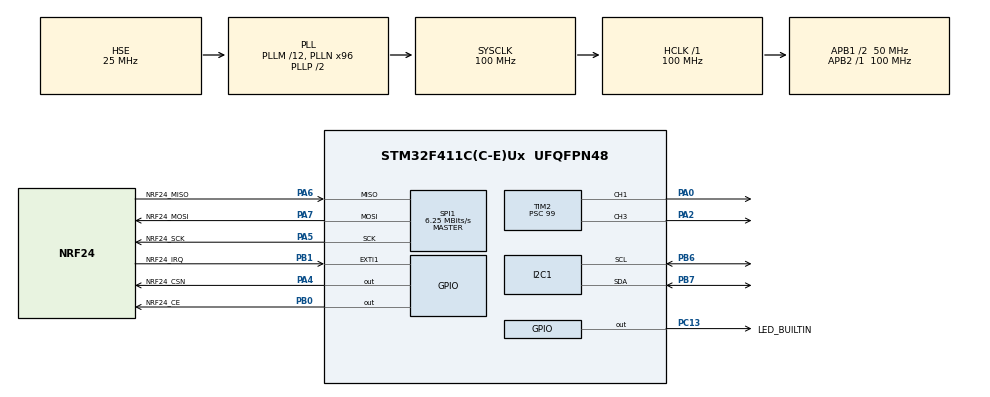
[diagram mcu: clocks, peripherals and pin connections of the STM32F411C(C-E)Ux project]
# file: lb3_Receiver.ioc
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Dma.I2C1_TX.0.Direction=DMA_MEMORY_TO_PERIPH
Dma.I2C1_TX.0.FIFOMode=DMA_FIFOMODE_DISABLE
Dma.I2C1_TX.0.Instance=DMA1_Stream1
Dma.I2C1_TX.0.MemDataAlignment=DMA_MDATAALIGN_BYTE
Dma.I2C1_TX.0.MemInc=DMA_MINC_ENABLE
Dma.I2C1_TX.0.Mode=DMA_NORMAL
Dma.I2C1_TX.0.PeriphDataAlignment=DMA_PDATAALIGN_BYTE
Dma.I2C1_TX.0.PeriphInc=DMA_PINC_DISABLE
Dma.I2C1_TX.0.Priority=DMA_PRIORITY_LOW
Dma.Request0=I2C1_TX
Dma.Request1=SPI1_TX
Dma.Request2=SPI1_RX
Dma.SPI1_RX.2.Direction=DMA_PERIPH_TO_MEMORY
Dma.SPI1_RX.2.FIFOMode=DMA_FIFOMODE_DISABLE
Dma.SPI1_RX.2.Instance=DMA2_Stream0
Dma.SPI1_RX.2.MemDataAlignment=DMA_MDATAALIGN_BYTE
Dma.SPI1_RX.2.MemInc=DMA_MINC_ENABLE
Dma.SPI1_RX.2.Mode=DMA_NORMAL
Dma.SPI1_RX.2.PeriphDataAlignment=DMA_PDATAALIGN_BYTE
Dma.SPI1_RX.2.PeriphInc=DMA_PINC_DISABLE
Dma.SPI1_RX.2.Priority=DMA_PRIORITY_LOW
Dma.SPI1_TX.1.Direction=DMA_MEMORY_TO_PERIPH
Dma.SPI1_TX.1.FIFOMode=DMA_FIFOMODE_DISABLE
Dma.SPI1_TX.1.Instance=DMA2_Stream2
Dma.SPI1_TX.1.MemDataAlignment=DMA_MDATAALIGN_BYTE
Dma.SPI1_TX.1.MemInc=DMA_MINC_ENABLE
Dma.SPI1_TX.1.Mode=DMA_NORMAL
Dma.SPI1_TX.1.PeriphDataAlignment=DMA_PDATAALIGN_BYTE
Dma.SPI1_TX.1.PeriphInc=DMA_PINC_DISABLE
Dma.SPI1_TX.1.Priority=DMA_PRIORITY_LOW
FREERTOS.BinarySemaphores01=radioIrqSem,Dynamic,NULL,Available;i2cTxDoneSem,Dynamic,NULL,Available
FREERTOS.Queues01=displayQueueHandle,4,40,1,Dynamic,NULL,NULL;radioToLogicQueue,4,32,1,Dynamic,NULL,NULL
FREERTOS.Tasks01=radio_task,24,256,radio_task_entry,Default,NULL,Dynamic,NULL,NULL;display_task,8,256,display_task_entry,Default,NULL,Dynamic,NULL,NULL;logic_task,24,256,logic_task_entry,Default,NULL,Dynamic,NULL,NULL
FREERTOS.configUSE_NEWLIB_REENTRANT=1
Mcu.Family=STM32F4
Mcu.Name=STM32F411C(C-E)Ux
Mcu.Package=UFQFPN48
NVIC.DMA1_Stream1_IRQn=true\:5\:0\:false\:false\:true\:true\:false\:true\:true
NVIC.DMA2_Stream0_IRQn=true\:5\:0\:false\:false\:true\:true\:false\:true\:true
NVIC.DMA2_Stream2_IRQn=true\:5\:0\:false\:false\:true\:true\:false\:true\:true
NVIC.EXTI1_IRQn=true\:5\:0\:true\:false\:true\:true\:true\:true\:true
NVIC.I2C1_ER_IRQn=true\:5\:0\:false\:false\:true\:true\:true\:true\:true
NVIC.I2C1_EV_IRQn=true\:5\:0\:false\:false\:true\:true\:true\:true\:true
NVIC.PriorityGroup=NVIC_PRIORITYGROUP_4
NVIC.SPI1_IRQn=true\:5\:0\:false\:false\:true\:true\:true\:true\:true
NVIC.TIM1_UP_TIM10_IRQn=true\:15\:0\:false\:false\:true\:false\:false\:true\:true
NVIC.TimeBase=TIM1_UP_TIM10_IRQn
NVIC.TimeBaseIP=TIM1
PA0-WKUP.Signal=S_TIM2_CH1_ETR
PA13.Mode=Serial_Wire
PA13.Signal=SYS_JTMS-SWDIO
PA14.Mode=Serial_Wire
PA14.Signal=SYS_JTCK-SWCLK
PA2.Signal=S_TIM2_CH3
PA4.GPIO_Label=NRF24_CSN
PA4.GPIO_Speed=GPIO_SPEED_FREQ_HIGH
PA4.PinState=GPIO_PIN_SET
PA4.Signal=GPIO_Output
PA5.GPIO_Label=NRF24_SCK
PA5.GPIO_Speed=GPIO_SPEED_FREQ_HIGH
PA5.Mode=Full_Duplex_Master
PA5.Signal=SPI1_SCK
PA6.GPIO_Label=NRF24_MISO
PA6.GPIO_PuPd=GPIO_NOPULL
PA6.GPIO_Speed=GPIO_SPEED_FREQ_HIGH
PA6.Mode=Full_Duplex_Master
PA6.Signal=SPI1_MISO
PA7.GPIO_Label=NRF24_MOSI
PA7.GPIO_Speed=GPIO_SPEED_FREQ_HIGH
PA7.Mode=Full_Duplex_Master
PA7.Signal=SPI1_MOSI
PB0.GPIO_Label=NRF24_CE
PB0.Signal=GPIO_Output
PB1.GPIO_Label=NRF24_IRQ
PB1.GPIO_ModeDefaultEXTI=GPIO_MODE_IT_FALLING
PB1.GPIO_PuPd=GPIO_PULLUP
PB1.Signal=GPXTI1
PB6.GPIO_Speed=GPIO_SPEED_FREQ_HIGH
PB6.Mode=I2C
PB6.Signal=I2C1_SCL
PB7.GPIO_Speed=GPIO_SPEED_FREQ_HIGH
PB7.Mode=I2C
PB7.Signal=I2C1_SDA
PC13-ANTI_TAMP.GPIO_Label=LED_BUILTIN
PC13-ANTI_TAMP.PinState=GPIO_PIN_SET
PC13-ANTI_TAMP.Signal=GPIO_Output
PH0\ -\ OSC_IN.Mode=HSE-External-Oscillator
PH0\ -\ OSC_IN.Signal=RCC_OSC_IN
PH1\ -\ OSC_OUT.Mode=HSE-External-Oscillator
PH1\ -\ OSC_OUT.Signal=RCC_OSC_OUT
ProjectManager.HeapSize=0x200
ProjectManager.StackSize=0x400
ProjectManager.TargetToolchain=CMake
RCC.48MHZClocksFreq_Value=50000000
RCC.AHBFreq_Value=100000000
RCC.APB1CLKDivider=RCC_HCLK_DIV2
RCC.APB1Freq_Value=50000000
RCC.APB1TimFreq_Value=100000000
RCC.APB2Freq_Value=100000000
RCC.APB2TimFreq_Value=100000000
RCC.CortexFreq_Value=100000000
RCC.HCLKFreq_Value=100000000
RCC.HSE_VALUE=25000000
RCC.HSI_VALUE=16000000
RCC.LSE_VALUE=32768
RCC.PLLM=12
RCC.PLLN=96
RCC.PLLSourceVirtual=RCC_PLLSOURCE_HSE
RCC.SYSCLKFreq_VALUE=100000000
RCC.SYSCLKSource=RCC_SYSCLKSOURCE_PLLCLK
RCC.VCOOutputFreq_Value=200000000
SH.S_TIM2_CH1_ETR.0=TIM2_CH1,PWM Generation1 CH1
SH.S_TIM2_CH3.0=TIM2_CH3,PWM Generation3 CH3
SPI1.BaudRatePrescaler=SPI_BAUDRATEPRESCALER_16
SPI1.CalculateBaudRate=6.25 MBits/s
SPI1.Direction=SPI_DIRECTION_2LINES
SPI1.Mode=SPI_MODE_MASTER
SPI1.VirtualType=VM_MASTER
TIM2.Channel-PWM\ Generation1\ CH1=TIM_CHANNEL_1
TIM2.Channel-PWM\ Generation3\ CH3=TIM_CHANNEL_3
TIM2.Period=19999
TIM2.Prescaler=99
TIM2.Pulse-PWM\ Generation1\ CH1=1500
TIM2.Pulse-PWM\ Generation3\ CH3=1500
VP_FREERTOS_VS_CMSIS_V2.Mode=CMSIS_V2
VP_SYS_VS_tim1.Mode=TIM1
VP_TIM2_VS_ClockSourceINT.Mode=Internal
board=custom

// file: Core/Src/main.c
/* USER CODE BEGIN Header */
/**
  ******************************************************************************
  * @file           : main.c
  * @brief          : Main program body
  ******************************************************************************
  * @attention
  *
  * Copyright (c) 2025 STMicroelectronics.
  * All rights reserved.
  *
  * This software is licensed under terms that can be found in the LICENSE file
  * in the root directory of this software component.
  * If no LICENSE file comes with this software, it is provided AS-IS.
  *
  ******************************************************************************
  */
/* USER CODE END Header */
#include "main.h"
#include "cmsis_os.h"
#include "dma.h"
#include "i2c.h"
#include "spi.h"
#include "tim.h"
#include "gpio.h"

/* USER CODE BEGIN Includes */
#include "rtos_tasks.h"
/* USER CODE END Includes */

void SystemClock_Config(void);
void MX_FREERTOS_Init(void);

int main(void)
{

  /* MCU Configuration--------------------------------------------------------*/

  /* Reset of all peripherals, Initializes the Flash interface and the Systick. */
  HAL_Init();

  /* USER CODE BEGIN Init */
  HAL_NVIC_SetPriorityGrouping(NVIC_PRIORITYGROUP_4);
  /* USER CODE END Init */

  /* Configure the system clock */
  SystemClock_Config();

  /* Initialize all configured peripherals */
  MX_GPIO_Init();
  MX_DMA_Init();
  MX_I2C1_Init();
  MX_SPI1_Init();
  MX_TIM2_Init();

  /* Init scheduler */
  osKernelInitialize();  /* Call init function for freertos objects (in cmsis_os2.c) */
  MX_FREERTOS_Init();

  /* Start scheduler */
  osKernelStart();

  /* We should never get here as control is now taken by the scheduler */

  /* Infinite loop */
  while (1)
  {

  }
}

void SystemClock_Config(void)
{
  RCC_OscInitTypeDef RCC_OscInitStruct = {0};
  RCC_ClkInitTypeDef RCC_ClkInitStruct = {0};

  /** Configure the main internal regulator output voltage
  */
  __HAL_RCC_PWR_CLK_ENABLE();
  __HAL_PWR_VOLTAGESCALING_CONFIG(PWR_REGULATOR_VOLTAGE_SCALE1);

  /** Initializes the RCC Oscillators according to the specified parameters
  * in the RCC_OscInitTypeDef structure.
  */
  RCC_OscInitStruct.OscillatorType = RCC_OSCILLATORTYPE_HSE;
  RCC_OscInitStruct.HSEState = RCC_HSE_ON;
  RCC_OscInitStruct.PLL.PLLState = RCC_PLL_ON;
  RCC_OscInitStruct.PLL.PLLSource = RCC_PLLSOURCE_HSE;
  RCC_OscInitStruct.PLL.PLLM = 12;
  RCC_OscInitStruct.PLL.PLLN = 96;
  RCC_OscInitStruct.PLL.PLLP = RCC_PLLP_DIV2;
  RCC_OscInitStruct.PLL.PLLQ = 4;
  if (HAL_RCC_OscConfig(&RCC_OscInitStruct) != HAL_OK)
  {
    Error_Handler();
  }

  /** Initializes the CPU, AHB and APB buses clocks
  */
  RCC_ClkInitStruct.ClockType = RCC_CLOCKTYPE_HCLK|RCC_CLOCKTYPE_SYSCLK
                              |RCC_CLOCKTYPE_PCLK1|RCC_CLOCKTYPE_PCLK2;
  RCC_ClkInitStruct.SYSCLKSource = RCC_SYSCLKSOURCE_PLLCLK;
  RCC_ClkInitStruct.AHBCLKDivider = RCC_SYSCLK_DIV1;
  RCC_ClkInitStruct.APB1CLKDivider = RCC_HCLK_DIV2;
  RCC_ClkInitStruct.APB2CLKDivider = RCC_HCLK_DIV1;

  if (HAL_RCC_ClockConfig(&RCC_ClkInitStruct, FLASH_LATENCY_3) != HAL_OK)
  {
    Error_Handler();
  }
}

/* USER CODE BEGIN 4 */
/**
  * @brief  I2C DMA Transfer Complete (Success) Callback.
  */
void HAL_I2C_MemTxCpltCallback(I2C_HandleTypeDef *hi2c)
{
  if (hi2c->Instance == hi2c1.Instance)
  {
    // Give the semaphore to unblock the display_task
	  osSemaphoreRelease(i2cTxDoneSemHandle);
  }
}

/**
  * @brief  I2C Error Callback.
  */
void HAL_I2C_ErrorCallback(I2C_HandleTypeDef *hi2c)
{
  if (hi2c->Instance == hi2c1.Instance)
  {
    // 1. Manually reset the HAL state to HAL_I2C_STATE_READY.
    // This is our "elegant fix" to clear the HAL_BUSY state.
    // Protected with critical section to prevent race conditions.
    taskENTER_CRITICAL();
    hi2c->State = HAL_I2C_STATE_READY;
    taskEXIT_CRITICAL();

    // 2. Also give the semaphore to unblock the display_task,
    //    so it doesn't get stuck on xSemaphoreTake().
    osSemaphoreRelease(i2cTxDoneSemHandle);
  }
}
/* USER CODE END 4 */

void HAL_TIM_PeriodElapsedCallback(TIM_HandleTypeDef *htim)
{
  if (htim->Instance == TIM1)
  {
    HAL_IncTick();
  }
}

void Error_Handler(void)
{
  __disable_irq();
  while (1)
  {
  }
}

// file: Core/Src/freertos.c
/* USER CODE BEGIN Header */
/**
  ******************************************************************************
  * File Name          : freertos.c
  * Description        : Code for freertos applications
  ******************************************************************************
  * @attention
  *
  * Copyright (c) 2025 STMicroelectronics.
  * All rights reserved.
  *
  * This software is licensed under terms that can be found in the LICENSE file
  * in the root directory of this software component.
  * If no LICENSE file comes with this software, it is provided AS-IS.
  *
  ******************************************************************************
  */
/* USER CODE END Header */

#include "FreeRTOS.h"
#include "task.h"
#include "main.h"
#include "cmsis_os.h"

/* USER CODE BEGIN Includes */
#include "rtos_tasks.h"
/* USER CODE END Includes */

/* Definitions for radio_task */
osThreadId_t radio_taskHandle;
const osThreadAttr_t radio_task_attributes = {
  .name = "radio_task",
  .stack_size = 512 * 4,
  .priority = (osPriority_t) osPriorityNormal,
};
/* Definitions for display_task */
osThreadId_t display_taskHandle;
const osThreadAttr_t display_task_attributes = {
  .name = "display_task",
  .stack_size = 512 * 4,
  .priority = (osPriority_t) osPriorityLow,
};
/* Definitions for logic_task */
osThreadId_t logic_taskHandle;
const osThreadAttr_t logic_task_attributes = {
  .name = "logic_task",
  .stack_size = 512 * 4,
  .priority = (osPriority_t) osPriorityNormal,
};
/* Definitions for displayQueueHandle */
osMessageQueueId_t displayQueueHandleHandle;
const osMessageQueueAttr_t displayQueueHandle_attributes = {
  .name = "displayQueueHandle"
};
/* Definitions for radioToLogicQueue */
osMessageQueueId_t radioToLogicQueueHandle;
const osMessageQueueAttr_t radioToLogicQueue_attributes = {
  .name = "radioToLogicQueue"
};
/* Definitions for radioIrqSem */
osSemaphoreId_t radioIrqSemHandle;
const osSemaphoreAttr_t radioIrqSem_attributes = {
  .name = "radioIrqSem"
};
/* Definitions for i2cTxDoneSem */
osSemaphoreId_t i2cTxDoneSemHandle;
const osSemaphoreAttr_t i2cTxDoneSem_attributes = {
  .name = "i2cTxDoneSem"
};

void radio_task_entry(void *argument);
void display_task_entry(void *argument);
void logic_task_entry(void *argument);

void MX_FREERTOS_Init(void); /* (MISRA C 2004 rule 8.1) */

void MX_FREERTOS_Init(void) {

  /* Create the semaphores(s) */
  /* creation of radioIrqSem */
  radioIrqSemHandle = osSemaphoreNew(1, 0, &radioIrqSem_attributes);

  /* creation of i2cTxDoneSem */
  i2cTxDoneSemHandle = osSemaphoreNew(1, 0, &i2cTxDoneSem_attributes);

  /* Create the queue(s) */
  /* creation of displayQueueHandle */
  displayQueueHandleHandle = osMessageQueueNew (4, 40, &displayQueueHandle_attributes);

  /* creation of radioToLogicQueue */
  radioToLogicQueueHandle = osMessageQueueNew (4, 32, &radioToLogicQueue_attributes);

  /* Create the thread(s) */
  /* creation of radio_task */
  radio_taskHandle = osThreadNew(radio_task_entry, NULL, &radio_task_attributes);

  /* creation of display_task */
  display_taskHandle = osThreadNew(display_task_entry, NULL, &display_task_attributes);

  /* creation of logic_task */
  logic_taskHandle = osThreadNew(logic_task_entry, NULL, &logic_task_attributes);

}

void radio_task_entry(void *argument)
{
  /* USER CODE BEGIN radio_task_entry */
  /* Infinite loop */
  radio_run_task();
  /* USER CODE END radio_task_entry */
}

void display_task_entry(void *argument)
{
  /* USER CODE BEGIN display_task_entry */
  /* Infinite loop */
  display_run_task();
  /* USER CODE END display_task_entry */
}

void logic_task_entry(void *argument)
{
  /* USER CODE BEGIN logic_task_entry */
  /* Infinite loop */
  logic_run_task();
  /* USER CODE END logic_task_entry */
}
